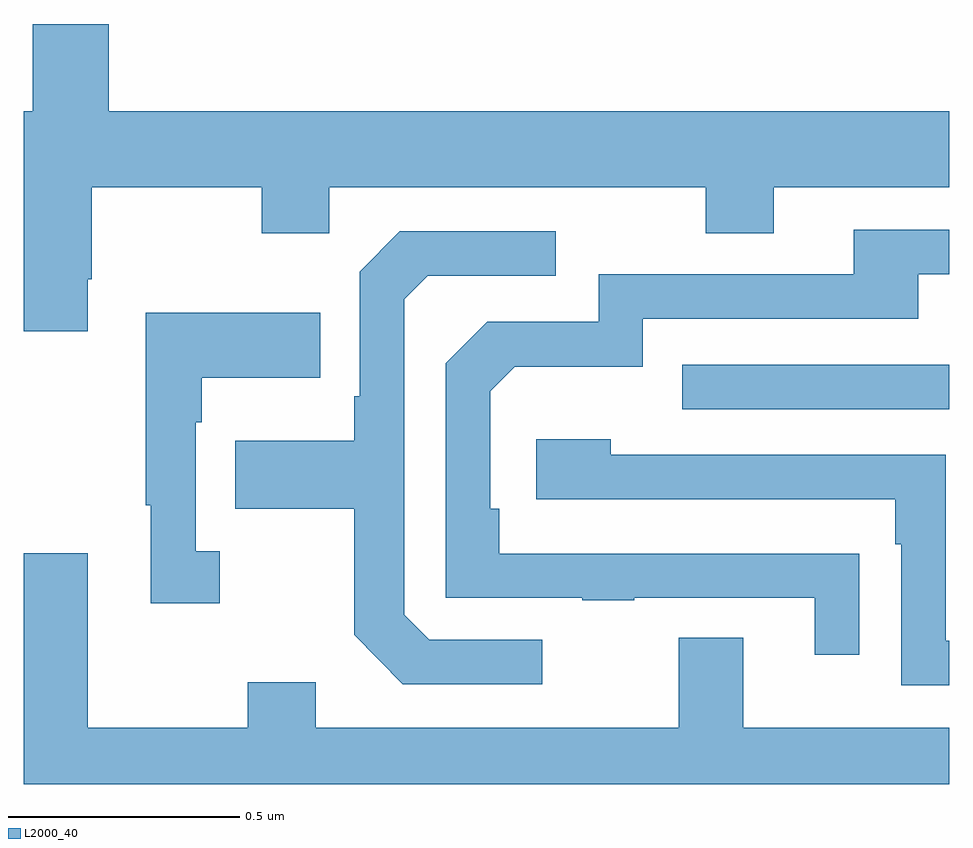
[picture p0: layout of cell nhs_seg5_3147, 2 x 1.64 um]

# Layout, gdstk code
import gdstk
lib = gdstk.Library(unit=1e-6, precision=1e-09)
def R(c, l, rs):  # rectangles x0, y0, x1, y1
    for r in rs: c.add(gdstk.rectangle(r[:2], r[2:], *l))
def P(c, l, *ps):  # polygons
    for p in ps: c.add(gdstk.Polygon(p, *l))
L2000_40 = (2000, 40)

nhs_seg5_3147 = lib.new_cell('nhs_seg5_3147')
R(nhs_seg5_3147, L2000_40, [(154.423,861.609,155,861.705)])
P(nhs_seg5_3147, L2000_40, [(153.139,861.889),(153.147,861.889),(153.147,862.088),(153.514,862.088),(153.514,861.989),(153.66,861.989),(153.66,862.088),(154.474,862.088),(154.474,861.989),(154.621,861.989),(154.621,862.088),(155,862.088),(155,862.252),(153.184,862.252),(153.184,862.441),(153.02,862.441),(153.02,862.252),(153,862.252),(153,861.777),(153.139,861.777)],
  [(154.805,861.296),(154.703,861.296),(154.703,861.297),(154.028,861.297),(154.028,861.394),(154.008,861.394),(154.008,861.648),(154.061,861.701),(154.338,861.701),(154.338,861.804),(154.933,861.804),(154.933,861.9),(155,861.9),(155,861.996),(154.793,861.996),(154.793,861.9),(154.242,861.9),(154.242,861.798),(154.002,861.798),(153.912,861.708),(153.912,861.201),(154.207,861.201),(154.207,861.196),(154.319,861.196),(154.319,861.201),(154.709,861.201),(154.709,861.078),(154.805,861.078)],
  [(154.12,861.111),(153.876,861.111),(153.822,861.165),(153.822,861.846),(153.873,861.897),(154.15,861.897),(154.15,861.993),(153.813,861.993),(153.726,861.906),(153.726,861.637),(153.714,861.637),(153.714,861.541),(153.457,861.541),(153.457,861.394),(153.714,861.394),(153.714,861.121),(153.819,861.015),(154.12,861.015)],
  [(153.424,861.302),(153.372,861.302),(153.372,861.581),(153.385,861.581),(153.385,861.677),(153.641,861.677),(153.641,861.817),(153.264,861.817),(153.264,861.401),(153.275,861.401),(153.275,861.189),(153.424,861.189)],
  [(155,861.108),(154.992,861.108),(154.992,861.51),(154.268,861.51),(154.268,861.544),(154.107,861.544),(154.107,861.414),(154.883,861.414),(154.883,861.317),(154.896,861.317),(154.896,861.012),(155,861.012)],
  [(155,860.92),(154.555,860.92),(154.555,861.115),(154.415,861.115),(154.415,860.92),(153.631,860.92),(153.631,861.019),(153.484,861.019),(153.484,860.92),(153.139,860.92),(153.139,861.298),(153,861.298),(153,860.799),(155,860.799)])

lib.write_gds('nhs_seg5_3147.gds')
